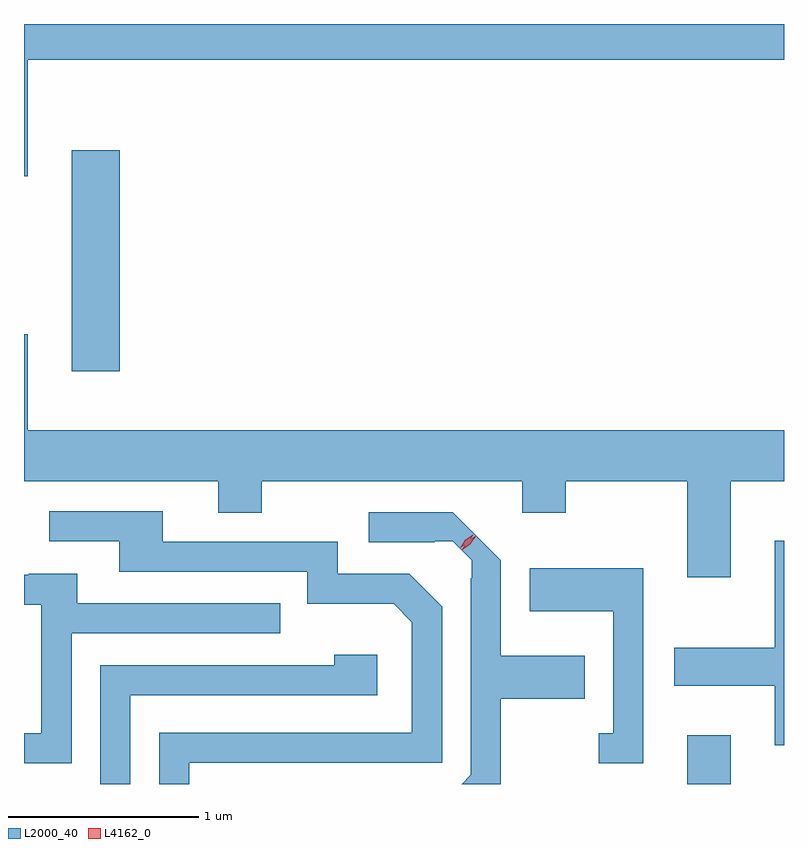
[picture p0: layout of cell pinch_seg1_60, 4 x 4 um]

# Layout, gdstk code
import gdstk
lib = gdstk.Library(unit=1e-6, precision=1e-09)
def R(c, l, rs):  # rectangles x0, y0, x1, y1
    for r in rs: c.add(gdstk.rectangle(r[:2], r[2:], *l))
def P(c, l, *ps):  # polygons
    for p in ps: c.add(gdstk.Polygon(p, *l))
L2000_40 = (2000, 40)
L4162_0 = (4162, 0)

pinch_seg1_60 = lib.new_cell('pinch_seg1_60')
R(pinch_seg1_60, L2000_40, [(1024.711,849.143,1024.939,849.399), (1021.471,851.316,1021.724,852.479)])
P(pinch_seg1_60, L2000_40, [(1021.239,852.956),(1025.219,852.956),(1025.219,853.143),(1021.219,853.143),(1021.219,852.341),(1021.239,852.341)],
  [(1024.939,850.736),(1025.219,850.736),(1025.219,851.004),(1021.239,851.004),(1021.239,851.509),(1021.219,851.509),(1021.219,850.736),(1022.241,850.736),(1022.241,850.571),(1022.469,850.571),(1022.469,850.736),(1023.841,850.736),(1023.841,850.571),(1024.069,850.571),(1024.069,850.736),(1024.711,850.736),(1024.711,850.231),(1024.939,850.231)],
  [(1022.089,849.256),(1023.419,849.256),(1023.419,850.077),(1023.247,850.249),(1022.869,850.249),(1022.869,850.419),(1021.949,850.419),(1021.949,850.579),(1021.353,850.579),(1021.353,850.421),(1021.721,850.421),(1021.721,850.261),(1022.711,850.261),(1022.711,850.091),(1023.164,850.091),(1023.261,849.994),(1023.261,849.414),(1021.931,849.414),(1021.931,849.143),(1022.089,849.143)],
  [(1023.729,849.591),(1024.169,849.591),(1024.169,849.819),(1023.729,849.819),(1023.729,850.32),(1023.475,850.574),(1023.033,850.574),(1023.033,850.416),(1023.38,850.416),(1023.38,850.42),(1023.475,850.42),(1023.575,850.32),(1023.575,850.225),(1023.571,850.225),(1023.571,849.192),(1023.523,849.143),(1023.729,849.143)],
  [(1025.219,850.424),(1025.171,850.424),(1025.171,849.859),(1024.641,849.859),(1024.641,849.661),(1025.171,849.661),(1025.171,849.346),(1025.219,849.346)],
  [(1024.479,850.279),(1023.881,850.279),(1023.881,850.051),(1024.321,850.051),(1024.321,849.409),(1024.243,849.409),(1024.243,849.251),(1024.479,849.251)],
  [(1021.469,849.936),(1022.568,849.936),(1022.568,850.094),(1021.499,850.094),(1021.499,850.249),(1021.245,850.249),(1021.245,850.244),(1021.219,850.244),(1021.219,850.086),(1021.311,850.086),(1021.311,849.409),(1021.219,849.409),(1021.219,849.251),(1021.469,849.251)],
  [(1021.779,849.611),(1023.079,849.611),(1023.079,849.824),(1022.851,849.824),(1022.851,849.769),(1021.621,849.769),(1021.621,849.143),(1021.779,849.143)])
P(pinch_seg1_60, L4162_0, [(1023.522,850.373),(1023.522,850.373),(1023.552,850.418),(1023.596,850.449),(1023.597,850.449),(1023.597,850.448),(1023.567,850.404),(1023.523,850.373)],
  [(1023.516,850.386),(1023.516,850.387),(1023.542,850.428),(1023.582,850.456),(1023.583,850.456),(1023.583,850.455),(1023.556,850.414),(1023.516,850.386)])

lib.write_gds('pinch_seg1_60.gds')
